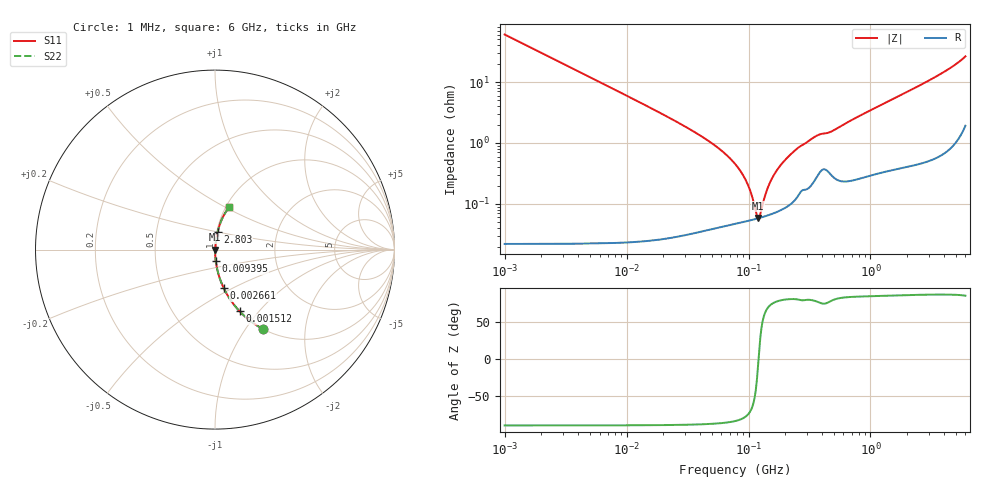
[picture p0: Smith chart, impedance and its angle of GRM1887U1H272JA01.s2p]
!Murata Part Number: GRM1887U1H272JA01
!These Parameters are Measured in Series Mode Connection
!Data Generated on Mar 30, 2021
!  o--ll--o
!Port1  Port2
!  o------o
!Operation Temp=25[degC], DC Bias Voltage=0[V]
!Freq. Start=1000[kHz] Stop=6[GHz] 401[Steps]
# Hz S RI R 50
!Freq.(Hz) S11(Real) S11(Imag) S21(Real) S21(Imag) S12(Real) S12(Imag) S22(Real) S22(Imag)
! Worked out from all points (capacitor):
!   401 points, 1 MHz to 6 GHz, reference 50 ohm
!   read as one part in series: C = 2.64 nF near 1.044 MHz
!   lowest |Z| = 58.8 mohm at 119.7 MHz (marker M1)
!   series resonance near 120.8 MHz, so ESL is about 660 pH
!   S11 on the Smith chart (normalised r, x): 1 MHz: 1.00, -1.21; 1.512 MHz: 1.00, -0.80; 2.661 MHz: 1.00, -0.45; 9.395 MHz: 1.00, -0.13; 2.803 GHz: 1.01, +0.20; 6 GHz: 1.04, +0.53
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1000000  0.2668 -0.4421  0.7332 0.4421  0.7332 0.4421  0.2668 -0.4421
1511688  0.1374 -0.344  0.8626 0.344  0.8626 0.344  0.1374 -0.344
2660982  0.049 -0.2154  0.951 0.2154  0.951 0.2154  0.049 -0.2154
4293785  0.0195 -0.1375  0.9805 0.1375  0.9805 0.1375  0.0195 -0.1375
9394506  0.00428 -0.0635  0.9957 0.0635  0.9957 0.0635  0.00428 -0.0635
1.843659e7  0.00127 -0.0318  0.9987 0.0318  0.9987 0.0318  0.00127 -0.0318
4.697123e7  0.000491 -0.0108  0.9995 0.0108  0.9995 0.0108  0.000491 -0.0108
7.745967e7  0.00049 -0.00453  0.9995 0.00453  0.9995 0.00453  0.00049 -0.00453
9.627852e7  0.000524 -0.00225  0.9995 0.00225  0.9995 0.00225  0.000524 -0.00225
1.050294e8  0.000544 -0.00138  0.9995 0.00138  0.9995 0.00138  0.000544 -0.00138
1.145757e8  0.000566 -0.000523  0.9994 0.000523  0.9994 0.000523  0.000566 -0.000523
1.196694e8  0.00058 -9.43e-05  0.9994 9.43e-05  0.9994 9.43e-05  0.00058 -9.43e-05
1.249896e8  0.000594 0.000334  0.9994 -0.000334  0.9994 -0.000334  0.000594 0.000334
1.39348e8  0.000636 0.00141  0.9994 -0.00141  0.9994 -0.00141  0.000636 0.00141
1.487431e8  0.000667 0.00206  0.9993 -0.00206  0.9993 -0.00206  0.000667 0.00206
1.732027e8  0.000759 0.00364  0.9992 -0.00364  0.9992 -0.00364  0.000759 0.00364
2.348496e8  0.00115 0.00715  0.9989 -0.00715  0.9989 -0.00715  0.00115 0.00715
3.325952e8  0.00224 0.0116  0.9978 -0.0116  0.9978 -0.0116  0.00224 0.0116
4.813793e8  0.00314 0.0152  0.9969 -0.0152  0.9969 -0.0152  0.00314 0.0152
1.428092e9  0.00585 0.0485  0.9942 -0.0485  0.9942 -0.0485  0.00585 0.0485
2.802612e9  0.0141 0.096  0.9859 -0.096  0.9859 -0.096  0.0141 0.096
6e9  0.0801 0.2374  0.9199 -0.2374  0.9199 -0.2374  0.0801 0.2374
